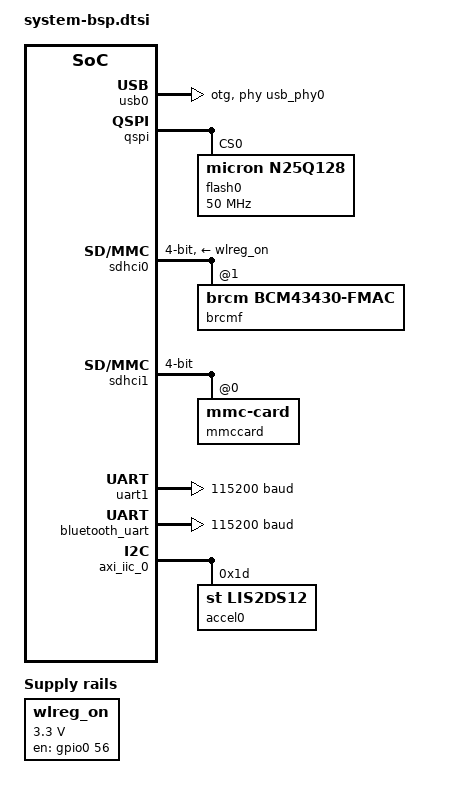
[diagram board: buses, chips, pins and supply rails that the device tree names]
/ {

	aliases {
		serial0 = &uart1;
		serial1 = &uart0;
	};
	
	/* WiFi Module:  WL_REG_ON GPIO Control */	
	wlreg_on: wlreg-on {
		compatible = "regulator-fixed";
		regulator-name = "wlreg_on";
		enable-active-high;
		gpio = <&gpio0 56 0>;
		regulator-min-microvolt = <3300000>;
		regulator-max-microvolt = <3300000>;
		startup-delay-us = <100>;	
	};

	/***** Uncomment this to use bcmdhd driver instead of brcmfmac driver
	bcmdhd_wlan_0: bcmdhd_wlan@0 { 
		compatible = "android,bcmdhd_wlan";
		wlreg_on-supply = <&wlreg_on>; 	
	}; 	
		/* gpios = <&gpio0 0 4>; */ /* OOB interrupts */
};

&flash0 {
	compatible = "micron,n25q128", "jedec,spi-nor";
};

/{
	usb_phy0: usb_phy@0 {
		compatible = "ulpi-phy";
		#phy-cells = <0>;
		reg = <0xe0002000 0x1000>;
		view-port = <0x0170>;
		drv-vbus;
	};
};

&usb0 {
	dr_mode = "otg";
	usb-phy = <&usb_phy0>;
} ;

/* QSPI partitions are defined with petalinux-config and described in system.conf.dtsi */
&qspi {
   #address-cells = <1>;
   #size-cells = <0>;
   status = "okay";
   is-dual = <0>;
   num-cs = <1>;
   flash0: flash@0 {
      compatible = "n25q128a11";
      reg = <0x0>;
      spi-tx-bus-width = <1>;
      spi-rx-bus-width = <4>;
      spi-max-frequency = <50000000>;      
      #address-cells = <1>;
      #size-cells = <1>;
   };
};

/* SD Interface for Wi-Fi Module */
&sdhci0 {
	status = "okay"; 
	bus-width= <4>;
	xlnx,has-cd = <0x0>;
	xlnx,has-power = <0x0>;
	xlnx,has-wp = <0x0>;
	non-removeable;
	broken-cd;
	vmmc-supply = <&wlreg_on>;  /* Uncomment for brcmfmac */
	/* wifi-host; */ /* uncomment for bcmdhd */

	
        brcmf: brcmf@1 {
		status = "okay";
                reg = <1>; 
                compatible = "brcm,bcm43430-fmac";
		/* interrupt-parent = <&gpio0>; */ /* For WL_HOST_WAKE OOB Interrupt */
		/* interrupts = <0 29 8>; */  /* PL-PS direct interrupt, Low Level */
		/* interrupts = <57 8>; */ /* GPIO EMIO 3, Low Level */
		/* interrupt-names = "host-wake"; */
	}; 
};

/* SD Interface for eMMC */
&sdhci1 {
	status = "okay"; 
	non-removeable;
	bus-width= <4>;
	xlnx,has-cd = <0x0>;
	xlnx,has-power = <0x0>;
	xlnx,has-wp = <0x0>;

	mmccard: mmccard@0 {
		reg = <0>;
		compatible = "mmc-card";
		broken-hpi;
	};
};

/* Console UART.  UART1 is tied to the USB serial port on the Zedboard */
&uart1 {
   	status = "okay";
	current-speed = <115200>;
	port-number = <0>;
};

/* Bluetooth UART.  Goes through EMIO to the 1DX */
&bluetooth_uart {
   	status = "okay";
	current-speed = <115200>;
	port-number = <2>;
};

/* AXI IIC.  Interfaces with the ST LIS2DS12 accelerometer */
&axi_iic_0 {
	status = "okay";

	/* MiniZed doesn't support interrupts from the accelerometer */
    	accel0: lis2ds12@1d {
        	compatible = "st,lis2ds12";
        	reg = <0x1d>;
    	};

};

&amba {
        /delete-node/ ptm@f889d000 ;

        funnel@f8804000 {
                in-ports {
                      /delete-node/ port@1 ;
                };
        };
};

